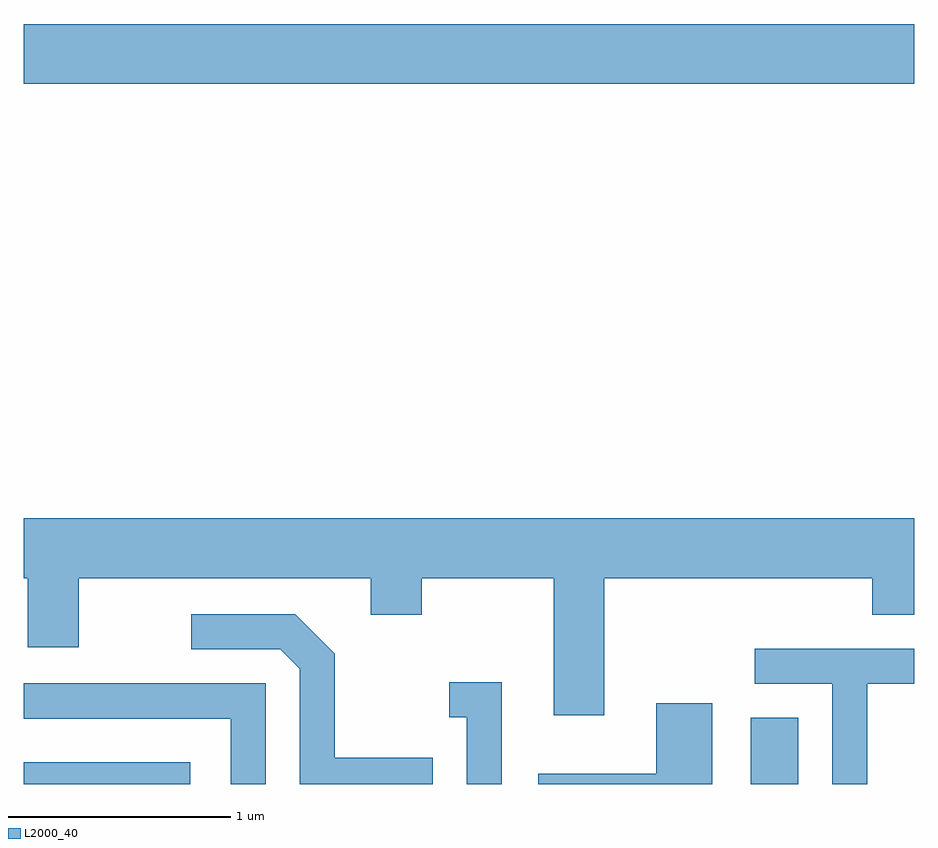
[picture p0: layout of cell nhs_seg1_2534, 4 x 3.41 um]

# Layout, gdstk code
import gdstk
lib = gdstk.Library(unit=1e-6, precision=1e-09)
def R(c, l, rs):  # rectangles x0, y0, x1, y1
    for r in rs: c.add(gdstk.rectangle(r[:2], r[2:], *l))
def P(c, l, *ps):  # polygons
    for p in ps: c.add(gdstk.Polygon(p, *l))
L2000_40 = (2000, 40)

nhs_seg1_2534 = lib.new_cell('nhs_seg1_2534')
R(nhs_seg1_2534, L2000_40, [(261.611,949.712,262.359,949.809), (264.876,949.712,265.089,950.009), (261.611,952.856,265.611,953.124)])
P(nhs_seg1_2534, L2000_40, [(264.219,950.636),(265.421,950.636),(265.421,950.471),(265.611,950.471),(265.611,950.904),(261.611,950.904),(261.611,950.636),(261.631,950.636),(261.631,950.326),(261.859,950.326),(261.859,950.636),(263.171,950.636),(263.171,950.471),(263.399,950.471),(263.399,950.636),(263.991,950.636),(263.991,950.021),(264.219,950.021)],
  [(263.449,949.829),(263.009,949.829),(263.009,950.297),(262.832,950.474),(262.363,950.474),(262.363,950.316),(262.764,950.316),(262.851,950.229),(262.851,949.712),(263.449,949.712)],
  [(265.399,950.161),(265.611,950.161),(265.611,950.319),(264.893,950.319),(264.893,950.161),(265.241,950.161),(265.241,949.712),(265.399,949.712)],
  [(263.759,950.169),(263.523,950.169),(263.523,950.011),(263.601,950.011),(263.601,949.712),(263.759,949.712)],
  [(262.699,950.164),(261.611,950.164),(261.611,950.006),(262.541,950.006),(262.541,949.712),(262.699,949.712)],
  [(264.704,950.074),(264.451,950.074),(264.451,949.759),(263.921,949.759),(263.921,949.712),(264.704,949.712)])

lib.write_gds('nhs_seg1_2534.gds')
